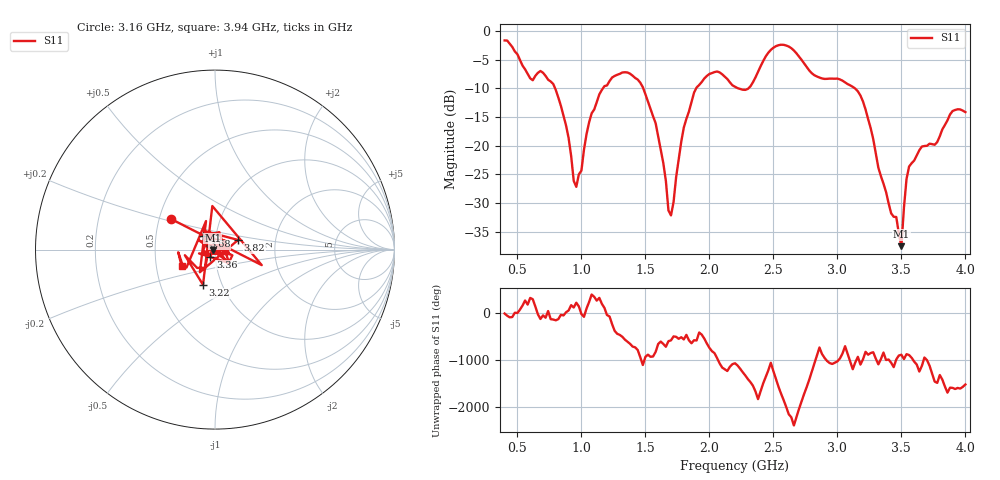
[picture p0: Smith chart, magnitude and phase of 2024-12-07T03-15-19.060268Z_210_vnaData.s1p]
!Created with skrf (http://scikit-rf.org).
# Hz S RI R 50.0
!freq ReS11 ImS11
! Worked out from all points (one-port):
!   181 points, 400 MHz to 4 GHz, reference 50 ohm
!   lowest |S11| = -37.5 dB at 3.5 GHz (marker M1), VSWR 1.03, Z = 48.7 - j0.219 ohm
!   |S11| at or under -10 dB: 794.9 MHz to 1.168 GHz (372.8 MHz wide, 38 % of centre); 1.483 GHz to 1.896 GHz (412.8 MHz wide, 24.4 % of centre); 3.138 GHz to end of sweep (the widest 3 of 4)
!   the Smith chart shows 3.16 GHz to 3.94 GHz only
!   S11 on the Smith chart (normalised r, x): 3.16 GHz: 0.58, +0.22; 3.22 GHz: 0.81, -0.33; 3.36 GHz: 0.95, -0.07; 3.68 GHz: 0.87, +0.13; 3.82 GHz: 1.29, +0.14; 3.94 GHz: 0.68, -0.13
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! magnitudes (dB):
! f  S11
! 400 MHz  -1.6
! 600 MHz  -8.2
! 780 MHz  -9.2
! 860 MHz  -14.7
! 960 MHz  -27.2
! 1.08 GHz  -14.3
! 1.3 GHz  -7.5
! 1.5 GHz  -11.0
! 1.58 GHz  -16.1
! 1.7 GHz  -32.1
! 1.76 GHz  -22.3
! 1.9 GHz  -9.8
! 2.06 GHz  -7.0
! 2.2 GHz  -9.7
! 2.32 GHz  -9.7
! 2.52 GHz  -2.6
! 2.66 GHz  -3.4
! 3.1 GHz  -9.5
! 3.16 GHz  -10.5
! 3.22 GHz  -13.7
! 3.36 GHz  -26.6
! 3.5 GHz  -37.5
! 3.54 GHz  -25.8
! 3.56 GHz  -23.6
! 3.68 GHz  -20.0
! 3.82 GHz  -17.1
! 3.94 GHz  -13.6
! 4 GHz  -14.1
